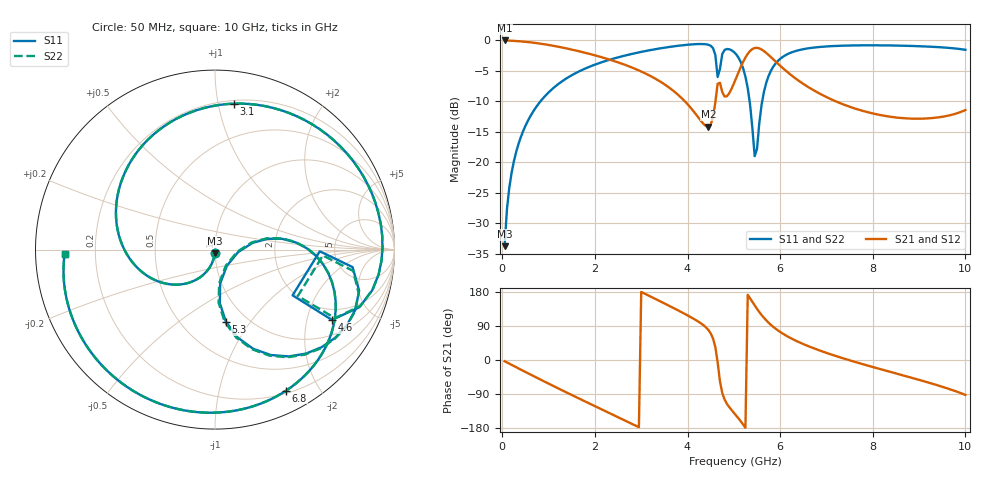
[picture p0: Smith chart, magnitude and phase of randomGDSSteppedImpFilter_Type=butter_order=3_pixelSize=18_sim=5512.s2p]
! freq	dB(S11)	phase(S11)	dB(S12)	phase(S12)
!  dB(S21)	phase(S21)	dB(S22)	phase(S22)
!S-par simulation data
#  GHz  S  DB  R 50
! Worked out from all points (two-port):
!   200 points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, 50 MHz to 10 GHz, reference 50 ohm
!   highest |S21| = 0.00 dB at 50 MHz (marker M1); lowest = -14.2 dB at 4.45 GHz (marker M2)
!   |S21| within 3 dB of the highest: start of sweep to 2.257 GHz; 5.236 GHz to 5.839 GHz (602.8 MHz wide, 10.9 % of centre)
!   lowest |S11| = -33.7 dB at 50 MHz (marker M3), VSWR 1.04, Z = 49.8 - j2.05 ohm
!   |S11| at or under -10 dB: start of sweep to 823.3 MHz; 5.341 GHz to 5.612 GHz (271.1 MHz wide, 4.95 % of centre)
!   |S22| runs from -33.7 to -0.6 dB; largest |S21 - S12| = 0
!   S11 on the Smith chart (normalised r, x): 50 MHz: 1.00, -0.04; 3.1 GHz: 0.22, +1.11; 4.6 GHz: 1.53, -2.85; 5.3 GHz: 0.80, -0.77; 6.8 GHz: 0.23, -1.60; 10 GHz: 0.09, -0.01
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0.05  -33.72 -93.3  -0.00 -3.2  -0.00 -3.2  -33.72 -93.3
0.2  -21.73 -103.1  -0.05 -12.8  -0.05 -12.8  -21.73 -103.1
0.5  -14.00 -122.3  -0.22 -31.6  -0.22 -31.6  -14.00 -122.3
1.1  -7.82 -159.1  -0.88 -68.5  -0.88 -68.5  -7.82 -159.2
1.75  -4.74 162.2  -1.95 -107.1  -1.95 -107.1  -4.74 162.1
2.4  -2.98 124.1  -3.34 -145.0  -3.34 -145.0  -2.98 124.1
3.1  -1.72 82.7  -5.45 173.6  -5.45 173.6  -1.72 82.6
3.4  -1.31 64.5  -6.69 155.5  -6.69 155.5  -1.31 64.5
4.45  -0.71 -8.9  -14.15 79.2  -14.15 79.2  -0.70 -8.5
4.6  -2.38 -31.0  -10.17 34.5  -10.17 34.5  -2.27 -29.8
4.65  -5.99 -30.5  -7.11 -6.0  -7.11 -6.0  -5.53 -29.2
4.7  -4.67 -0.9  -6.95 -56.2  -6.95 -56.2  -4.40 -3.1
4.8  -1.57 -15.9  -9.19 -104.2  -9.19 -104.2  -1.54 -17.0
5.05  -2.27 -48.8  -6.15 -146.5  -6.15 -146.5  -2.27 -49.5
5.3  -7.82 -81.4  -2.20 172.0  -2.20 172.0  -7.85 -82.4
5.45  -18.97 -54.4  -1.24 144.0  -1.24 144.0  -19.36 -55.5
5.65  -8.43 9.1  -1.74 111.3  -1.74 111.3  -8.45 9.6
6.05  -2.73 -23.1  -4.49 70.1  -4.49 70.1  -2.73 -23.0
6.7  -1.20 -58.8  -8.07 32.1  -8.07 32.1  -1.20 -58.8
6.8  -1.11 -63.2  -8.50 27.4  -8.50 27.4  -1.11 -63.2
8.35  -0.82 -119.3  -12.48 -30.4  -12.48 -30.4  -0.82 -119.3
10  -1.53 -178.3  -11.41 -92.2  -11.41 -92.2  -1.54 -178.4
